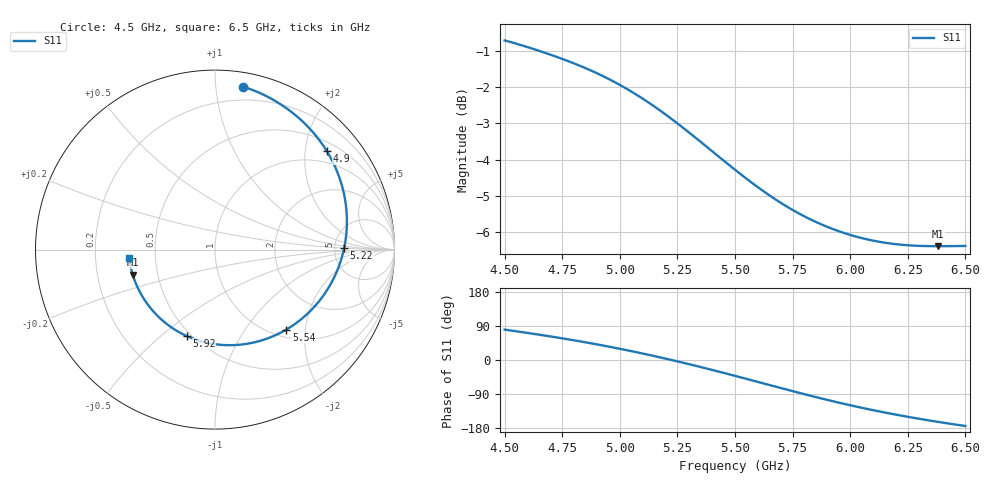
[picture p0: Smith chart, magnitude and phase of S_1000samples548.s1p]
! TOUCHSTONE file generated by CST MICROWAVE STUDIO
! Date and time: Fri Oct 28 13:27:05 2022
! Project name: L.cst
! Parameters = {Di=1.27; Epsilon_r=1.56; InnerDiameter=1.27; Length=2; Lf=10; Lg=60; OuterConductorThickness=0.2921; OuterDiameter=3.6; Wf=3; Wp=41.2; de=1.5; df=6.8; g=0.8; gx=2.3352; gy=2.44939; h=2.34; hf=1.524; px=11.2024; py=10.3613; w=9.7; wx=8.86721; wy=7.91194}
! Header version: 2018
! Port assignment regex: !\s*Touchstone port\s*([0-9]+)\s*=\s*(CST MWS port|CST DS port)\s*([0-9]+|Zmin|Zmax)\s*\(\"(.*)\"\)(\s*mode\s*([0-9]+))?.*
! Touchstone port assignment:
! Touchstone port 1 = CST MWS port 1 ("")
# GHz S DB R 50
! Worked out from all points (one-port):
!   101 points, 4.5 GHz to 6.5 GHz, reference 50 ohm
!   lowest |S11| = -6.4 dB at 6.38 GHz (marker M1), VSWR 2.84, Z = 17.9 - j6.48 ohm
!   |S11| at or under -10 dB: nowhere
!   S11 on the Smith chart (normalised r, x): 4.5 GHz: 0.10, +1.18; 4.9 GHz: 0.70, +2.48; 5.22 GHz: 6.12, +0.20; 5.54 GHz: 1.15, -1.59; 5.92 GHz: 0.47, -0.61; 6.5 GHz: 0.35, -0.05
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4.5  -0.72 80.2
4.56  -0.82 74.9
4.64  -0.98 67.7
4.76  -1.25 56.2
4.82  -1.40 50.0
4.9  -1.62 41.3
5  -1.94 29.6
5.06  -2.16 22.1
5.12  -2.41 14.3
5.18  -2.67 6.2
5.22  -2.86 0.6
5.26  -3.05 -5.1
5.32  -3.35 -13.9
5.38  -3.66 -23.0
5.44  -3.97 -32.3
5.5  -4.28 -41.8
5.54  -4.48 -48.2
5.6  -4.77 -57.9
5.64  -4.95 -64.4
5.7  -5.20 -74.1
5.76  -5.43 -83.7
5.84  -5.69 -96.2
5.92  -5.90 -108.1
6  -6.08 -119.4
6.12  -6.26 -134.9
6.26  -6.37 -151.0
6.38  -6.39 -163.1
6.5  -6.38 -174.1
